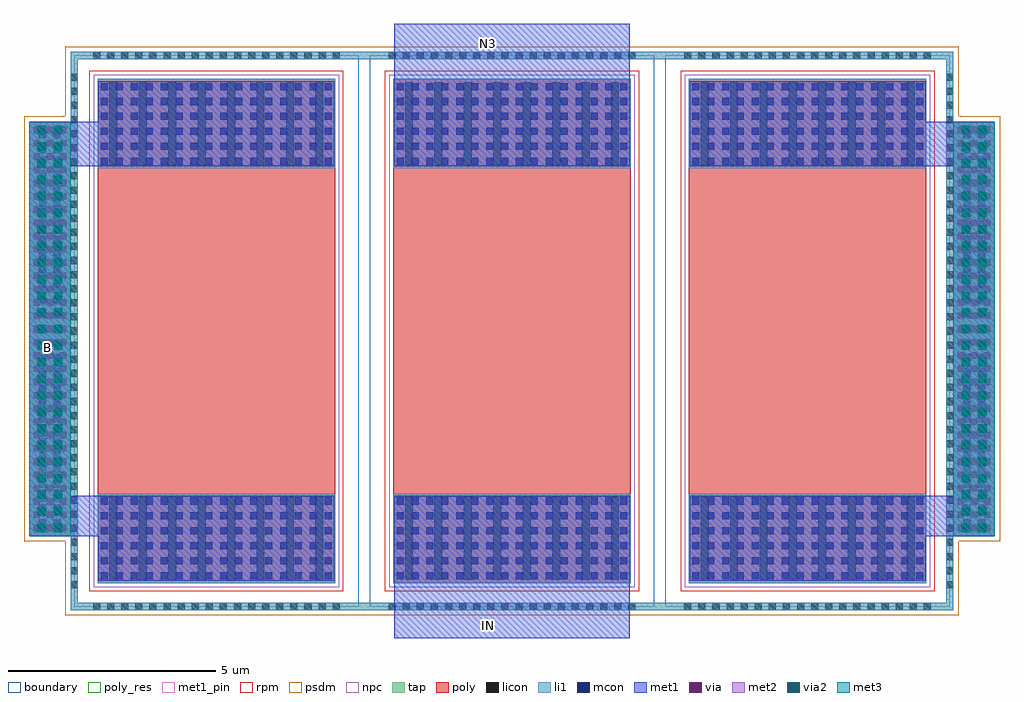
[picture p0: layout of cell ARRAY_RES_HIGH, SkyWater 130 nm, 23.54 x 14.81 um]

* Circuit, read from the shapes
.subckt ARRAY_RES_HIGH B IN N3
XR1 B B B sky130_fd_pr__res_high_po w=5.73 l=7.88 m=2
XR2 N3 IN B sky130_fd_pr__res_high_po w=5.73 l=7.88
.ends

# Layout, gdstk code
import gdstk
lib = gdstk.Library(unit=1e-6, precision=1e-09)
def R(c, l, rs):  # rectangles x0, y0, x1, y1
    for r in rs: c.add(gdstk.rectangle(r[:2], r[2:], *l))
def A(c, l, x, y, w, h, nx, ny, dx, dy):  # array of equal rectangles
    R(c, l, [(x+i*dx, y+j*dy, x+i*dx+w, y+j*dy+h) for i in range(nx) for j in range(ny)])
tap = (65, 44)
poly_res = (66, 13)
poly = (66, 20)
licon = (66, 44)
li1 = (67, 20)
mcon = (67, 44)
met1_pin = (68, 16)
met1 = (68, 20)
via = (68, 44)
met2 = (69, 20)
via2 = (69, 44)
met3 = (70, 20)
rpm = (86, 20)
psdm = (94, 20)
npc = (95, 20)
boundary = (235, 4)

sky130_fd_pr__res_high_p = lib.new_cell('sky130_fd_pr__res_high_po_5p73_DTWCRZ')
R(sky130_fd_pr__res_high_p, tap, [(-3.515,-6.73,3.515,-6.56), (-3.515,6.56,3.515,6.73)])
R(sky130_fd_pr__res_high_p, poly_res, [(-2.865,-4,2.865,4)])
R(sky130_fd_pr__res_high_p, poly, [(-2.865,-6.08,2.865,6.08)])
A(sky130_fd_pr__res_high_p, licon, -2.975, -6.73, 0.17, 0.17, 18, 2, 0.34, 13.29)
A(sky130_fd_pr__res_high_p, licon, -2.58, -6, 0.19, 2, 8, 2, 0.71, 10)
R(sky130_fd_pr__res_high_p, li1, [(-3.515,-6.73,3.515,-6.56), (-2.865,-6.08,2.865,-3.92), (-2.865,3.92,2.865,6.08), (-3.515,6.56,3.515,6.73)])
A(sky130_fd_pr__res_high_p, mcon, -2.785, -5.985, 0.17, 0.17, 16, 6, 0.36, 0.36)
A(sky130_fd_pr__res_high_p, mcon, -2.785, 4.01, 0.17, 0.17, 16, 6, 0.36, 0.36)
R(sky130_fd_pr__res_high_p, met1, [(-2.845,-6.02,2.845,-3.975), (-2.845,3.975,2.845,6.02)])
R(sky130_fd_pr__res_high_p, rpm, [(-3.065,-6.28,3.065,6.28)])
R(sky130_fd_pr__res_high_p, psdm, [(-3.64,-6.855,3.64,6.855)])
R(sky130_fd_pr__res_high_p, npc, [(-2.96,-6.175,2.96,6.175)])
R(sky130_fd_pr__res_high_p, boundary, [(-3.43,-6.645,3.43,6.645)])

vias_gen_23 = lib.new_cell('vias_gen$23')
R(vias_gen_23, tap, [(0,0,1,10)])
A(vias_gen_23, licon, 0.245, 0.155, 0.17, 0.17, 1, 29, 0, 0.34)
A(vias_gen_23, licon, 0.585, 0.155, 0.17, 0.17, 1, 29, 0, 0.34)
R(vias_gen_23, li1, [(0,0,1,10)])
A(vias_gen_23, mcon, 0.235, 0.235, 0.17, 0.17, 1, 27, 0, 0.36)
A(vias_gen_23, mcon, 0.595, 0.235, 0.17, 0.17, 1, 27, 0, 0.36)
R(vias_gen_23, met1, [(0,0,1,10)])
A(vias_gen_23, via, 0.105, 0.125, 0.15, 0.15, 3, 31, 0.32, 0.32)
R(vias_gen_23, met2, [(0,0,1,10)])
A(vias_gen_23, via2, 0.2, 0.1, 0.2, 0.2, 1, 25, 0, 0.4)
A(vias_gen_23, via2, 0.6, 0.1, 0.2, 0.2, 1, 25, 0, 0.4)
R(vias_gen_23, met3, [(0,0,1,10)])
R(vias_gen_23, psdm, [(-0.125,-0.125,1.125,10.125)])

array_res_high = lib.new_cell('ARRAY_RES_HIGH')
R(array_res_high, tap, [(-3.63,-6.73,17.66,-6.56), (-3.63,-6.56,-3.46,6.56), (17.49,-6.56,17.66,6.56), (-3.63,6.56,17.66,6.73)])
A(array_res_high, licon, -3.63, -6.205, 0.17, 0.17, 1, 37, 0, 0.34)
A(array_res_high, licon, 17.49, -6.205, 0.17, 0.17, 1, 37, 0, 0.34)
R(array_res_high, li1, [(-3.63,-6.73,17.66,-6.56), (-3.63,-6.56,-3.46,6.56), (17.49,-6.56,17.66,6.56), (-3.63,6.56,17.66,6.73)])
R(array_res_high, met1_pin, [(6.4,-7.135,6.5,-7.035), (-4.41,-0.615,-3.91,-0.1), (6.4,6.9,6.5,7)])
R(array_res_high, met1, [(4.17,-7.405,9.86,-3.97), (-3.63,-4.95,-2.96,-3.975), (16.99,-4.95,17.66,-3.975), (4.17,3.97,9.86,7.405), (-3.63,3.975,-2.96,5.05), (16.99,3.975,17.66,5.05)])
r = gdstk.Reference(sky130_fd_pr__res_high_p, (-0.115,0)); r.repetition = gdstk.Repetition(3, 1, v1=(7.13,0), v2=(0,0)); array_res_high.add(r)
array_res_high.add(gdstk.Reference(vias_gen_23, (17.66,-4.95)))
array_res_high.add(gdstk.Reference(vias_gen_23, (-4.63,-4.95)))
array_res_high.add(gdstk.Label('B', (-4.19,-0.41), layer=68, texttype=5))
array_res_high.add(gdstk.Label('N3', (6.445,6.94), layer=68, texttype=5))
array_res_high.add(gdstk.Label('IN', (6.445,-7.095), layer=68, texttype=5))

lib.write_gds('ARRAY_RES_HIGH.gds')
